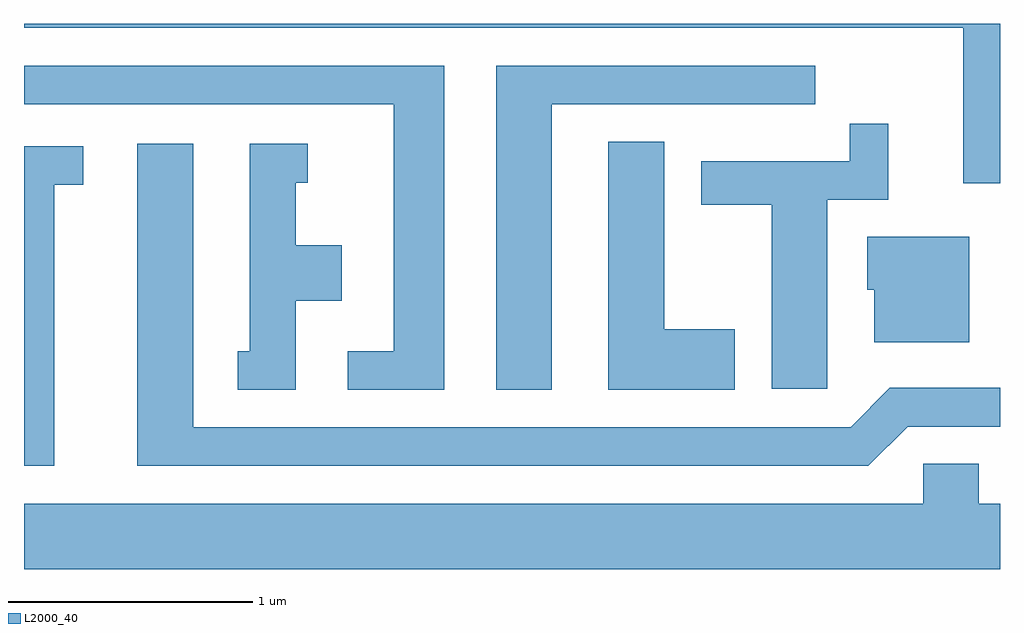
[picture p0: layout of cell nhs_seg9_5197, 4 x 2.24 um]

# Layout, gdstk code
import gdstk
lib = gdstk.Library(unit=1e-6, precision=1e-09)
def P(c, l, *ps):  # polygons
    for p in ps: c.add(gdstk.Polygon(p, *l))
L2000_40 = (2000, 40)

nhs_seg9_5197 = lib.new_cell('nhs_seg9_5197')
P(nhs_seg9_5197, L2000_40, [(341.611,2058.432),(337.611,2058.432),(337.611,2058.416),(341.461,2058.416),(341.461,2057.778),(341.611,2057.778)],
  [(339.774,2058.101),(340.853,2058.101),(340.853,2058.259),(339.546,2058.259),(339.546,2056.931),(339.774,2056.931)],
  [(339.334,2058.259),(337.611,2058.259),(337.611,2058.101),(339.126,2058.101),(339.126,2057.089),(338.938,2057.089),(338.938,2056.931),(339.334,2056.931)],
  [(340.904,2057.711),(341.154,2057.711),(341.154,2058.023),(340.996,2058.023),(340.996,2057.869),(340.386,2057.869),(340.386,2057.691),(340.676,2057.691),(340.676,2056.936),(340.904,2056.936)],
  [(340.524,2057.179),(340.234,2057.179),(340.234,2057.949),(340.006,2057.949),(340.006,2056.931),(340.524,2056.931)],
  [(341.232,2056.781),(341.611,2056.781),(341.611,2056.939),(341.159,2056.939),(340.999,2056.779),(338.304,2056.779),(338.304,2057.939),(338.076,2057.939),(338.076,2056.621),(341.072,2056.621)],
  [(338.724,2057.296),(338.914,2057.296),(338.914,2057.524),(338.724,2057.524),(338.724,2057.781),(338.773,2057.781),(338.773,2057.939),(338.536,2057.939),(338.536,2057.089),(338.488,2057.089),(338.488,2056.931),(338.724,2056.931)],
  [(337.734,2057.771),(337.853,2057.771),(337.853,2057.929),(337.611,2057.929),(337.611,2056.621),(337.734,2056.621)],
  [(341.484,2057.559),(341.066,2057.559),(341.066,2057.341),(341.096,2057.341),(341.096,2057.126),(341.484,2057.126)],
  [(341.611,2056.464),(341.524,2056.464),(341.524,2056.629),(341.296,2056.629),(341.296,2056.464),(337.611,2056.464),(337.611,2056.196),(341.611,2056.196)])

lib.write_gds('nhs_seg9_5197.gds')
